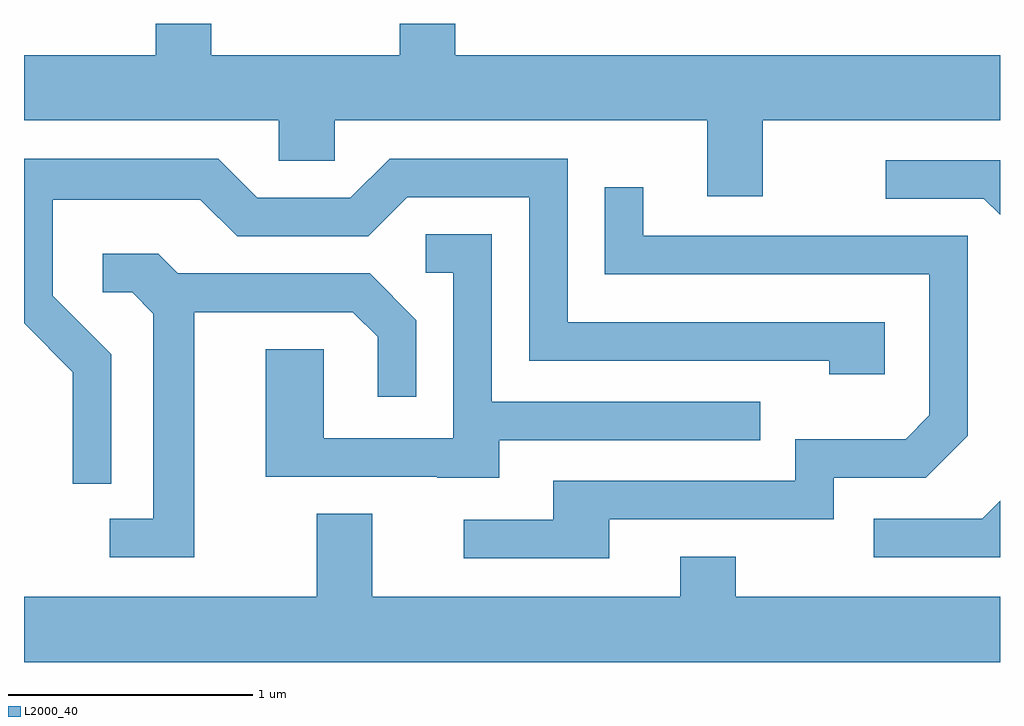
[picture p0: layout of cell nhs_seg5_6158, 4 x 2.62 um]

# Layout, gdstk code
import gdstk
lib = gdstk.Library(unit=1e-6, precision=1e-09)
def P(c, l, *ps):  # polygons
    for p in ps: c.add(gdstk.Polygon(p, *l))
L2000_40 = (2000, 40)

nhs_seg5_6158 = lib.new_cell('nhs_seg5_6158')
P(nhs_seg5_6158, L2000_40, [(368.656,1465.511),(368.884,1465.511),(368.884,1465.676),(370.411,1465.676),(370.411,1465.366),(370.639,1465.366),(370.639,1465.676),(371.611,1465.676),(371.611,1465.944),(369.379,1465.944),(369.379,1466.072),(369.151,1466.072),(369.151,1465.944),(368.379,1465.944),(368.379,1466.072),(368.151,1466.072),(368.151,1465.944),(367.611,1465.944),(367.611,1465.676),(368.656,1465.676)],
  [(367.969,1464.717),(367.729,1464.957),(367.729,1465.351),(368.334,1465.351),(368.484,1465.201),(369.022,1465.201),(369.182,1465.361),(369.681,1465.361),(369.681,1464.691),(370.911,1464.691),(370.911,1464.636),(371.139,1464.636),(371.139,1464.849),(369.839,1464.849),(369.839,1465.519),(369.109,1465.519),(368.949,1465.359),(368.567,1465.359),(368.407,1465.519),(367.611,1465.519),(367.611,1464.844),(367.811,1464.644),(367.811,1464.188),(367.969,1464.188)],
  [(371.611,1465.514),(371.143,1465.514),(371.143,1465.356),(371.544,1465.356),(371.611,1465.289)],
  [(370.009,1464.041),(370.929,1464.041),(370.929,1464.211),(371.307,1464.211),(371.479,1464.384),(371.479,1465.204),(370.149,1465.204),(370.149,1465.403),(369.991,1465.403),(369.991,1465.046),(371.321,1465.046),(371.321,1464.467),(371.224,1464.369),(370.771,1464.369),(370.771,1464.199),(369.781,1464.199),(369.781,1464.039),(369.413,1464.039),(369.413,1463.881),(370.009,1463.881)],
  [(369.559,1464.366),(370.628,1464.366),(370.628,1464.524),(369.529,1464.524),(369.529,1465.209),(369.258,1465.209),(369.258,1465.051),(369.371,1465.051),(369.371,1464.374),(368.839,1464.374),(368.839,1464.739),(368.601,1464.739),(368.601,1464.216),(369.305,1464.216),(369.305,1464.211),(369.559,1464.211)],
  [(368.309,1464.891),(368.959,1464.891),(369.061,1464.789),(369.061,1464.543),(369.219,1464.543),(369.219,1464.857),(369.027,1465.049),(368.242,1465.049),(368.162,1465.129),(367.933,1465.129),(367.933,1464.971),(368.054,1464.971),(368.141,1464.884),(368.141,1464.044),(367.963,1464.044),(367.963,1463.886),(368.309,1463.886)],
  [(371.611,1464.117),(371.539,1464.044),(371.093,1464.044),(371.093,1463.886),(371.611,1463.886)],
  [(371.611,1463.724),(370.529,1463.724),(370.529,1463.889),(370.301,1463.889),(370.301,1463.724),(369.039,1463.724),(369.039,1464.064),(368.811,1464.064),(368.811,1463.724),(367.611,1463.724),(367.611,1463.456),(371.611,1463.456)])

lib.write_gds('nhs_seg5_6158.gds')
